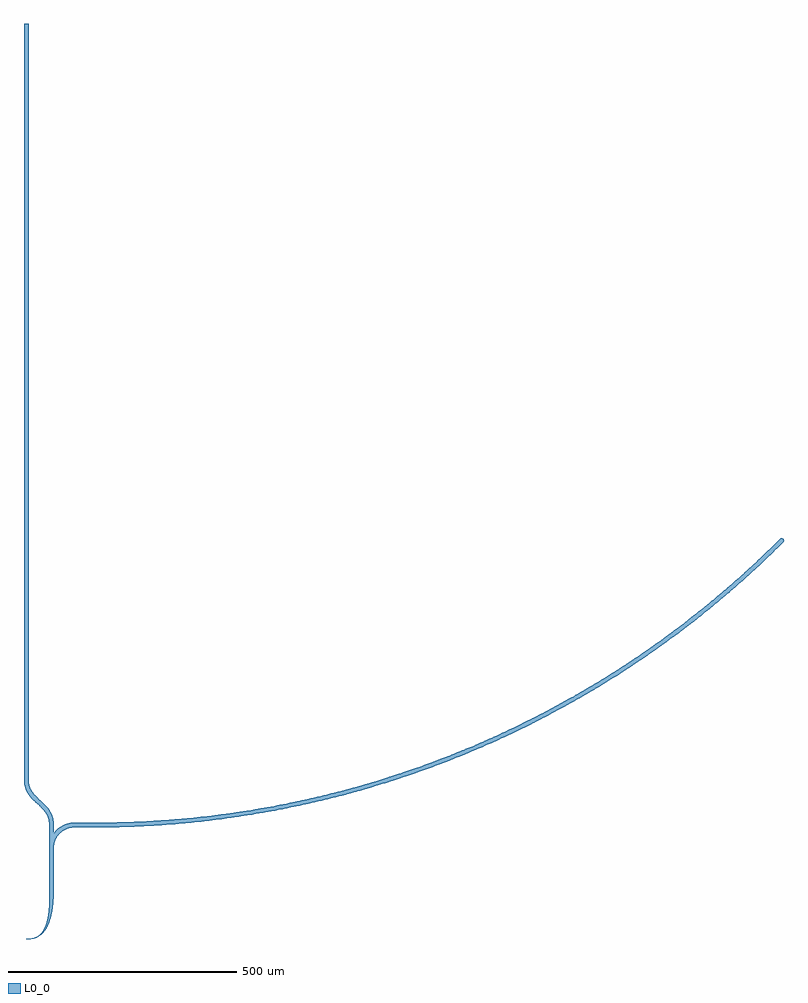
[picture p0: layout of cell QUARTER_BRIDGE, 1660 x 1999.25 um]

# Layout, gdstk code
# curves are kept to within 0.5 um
import gdstk
lib = gdstk.Library(unit=1e-6, precision=1e-09)
def P(c, l, *ps):  # polygons
    for p in ps: c.add(gdstk.Polygon(p, *l))
L0_0 = (0, 0)

quarter_bridge = lib.new_cell('QUARTER_BRIDGE')
P(quarter_bridge, L0_0, [(5.805,0.756),(9.58,0.965),(13.447,1.512),(16.239,2.143),(19.73,3.248),(23.221,4.752),(25.765,6.136),(29.346,8.354),(32.979,11.081),(35.74,13.628),(38.517,16.679),(41.076,20.006),(42.967,22.839),(46.92,30.073),(50.351,38.331),(50.351,206.207),(50,200.002),(50.076,80.197),(49.62,70.05),(48.756,60.162),(47.625,51.83),(46.101,43.842),(44.76,38.432),(43.455,34.078),(41.759,29.349),(40.19,25.671),(38.238,21.79),(36.209,18.389),(33.658,14.824),(31.132,11.908),(28.537,9.418),(26.191,7.574),(22.779,5.648),(18.506,3.874),(14.179,2.68),(9.966,2.009),(6.415,1.77),(-0.191,1.712),(-0.5,1.25),(-0.354,0.896),(0,0.75)],
  [(50.373,38.39),(56.21,60.739),(59.517,89.303),(60.004,200.565),(61.204,210.338),(63.634,217.716),(66.505,223.306),(70.987,229.463),(76.144,234.531),(82.026,238.694),(88.22,241.754),(94.657,243.795),(101.894,244.893),(101.894,254.912),(93.49,253.782),(85.03,251.246),(76.921,247.292),(69.732,242.204),(63.428,236.011),(57.951,228.485),(54.016,220.632),(51.471,212.635),(50.351,206.207)],
  [(102.514,244.931),(199.285,245.571),(278.712,248.899),(356.718,255.072),(438.282,264.633),(493.182,272.877),(543.707,281.767),(593.602,291.788),(645.052,303.432),(697.46,316.691),(697.46,327.036),(635.093,311.345),(568.424,296.776),(499.964,284.136),(436.926,274.541),(351.408,264.606),(269.611,258.383),(194.697,255.472),(101.894,254.912),(101.894,244.893)],
  [(700.047,317.376),(777.467,339.69),(856.7,365.874),(931.514,393.829),(1005.922,424.878),(1050.574,445.131),(1101.017,469.531),(1147.902,493.708),(1196.446,520.324),(1225.105,536.821),(1225.105,548.424),(1167.747,515.787),(1114.623,487.623),(1056.431,458.941),(1001.896,434.032),(927.839,403.129),(853.376,375.306),(774.516,349.244),(697.46,327.036),(697.46,316.691)],
  [(1228.125,538.595),(1290.293,576.614),(1349.918,615.919),(1407.083,656.392),(1469.064,703.595),(1534.874,757.827),(1595.335,811.755),(1653.535,867.784),(1654.998,871.162),(1653.751,874.626),(1650.472,876.298),(1646.936,875.272),(1604.545,834.08),(1558.108,791.433),(1509.503,749.419),(1462.86,711.438),(1401.171,664.457),(1344.275,624.174),(1284.93,585.054),(1225.105,548.424),(1225.105,536.821)],
  [(60,250.003),(59.115,260.896),(56.45,270.925),(52.411,279.486),(46.465,288.017),(31.855,302.798),(17.13,302.798),(31.666,289.294),(38.718,281.694),(44.279,273.552),(47.817,265.264),(49.969,251.969),(50,200),(60,200)],
  [(30.165,304.335),(18.552,315.66),(11.173,325.646),(6.604,336.762),(5.008,349.007),(5,2000),(-5,2000),(-4.991,348.847),(-3.983,338.354),(-1.665,329.667),(2.375,320.887),(7.651,313.087),(17.13,302.798),(31.855,302.798)])

lib.write_gds('QUARTER_BRIDGE.gds')
